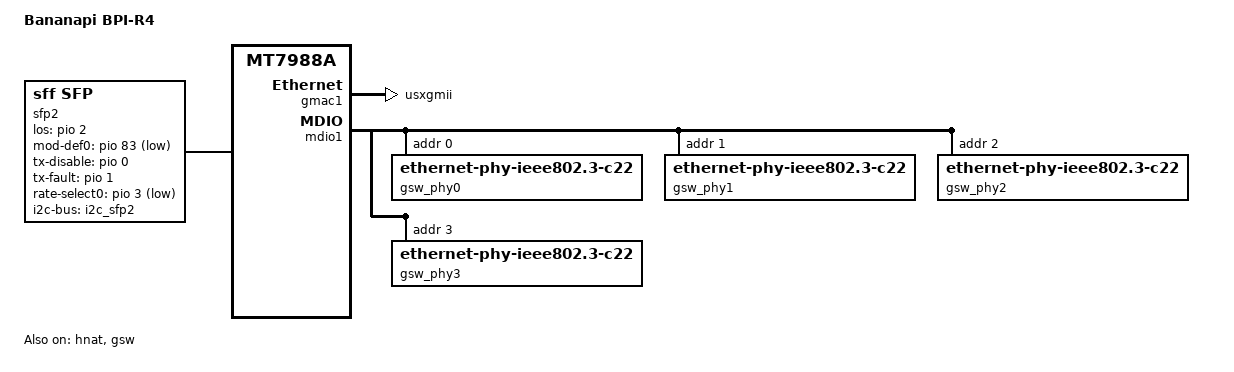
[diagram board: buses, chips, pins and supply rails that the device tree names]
// SPDX-License-Identifier: (GPL-2.0 OR MIT)
/*
 * Copyright (C) 2022 MediaTek Inc.
 * Author: Sam.Shih <sam.shih@mediatek.com>
 */

#include "mt7988a-bananapi-bpi-r4.dtsi"

/ {
	model = "Bananapi BPI-R4";
	compatible = "bananapi,bpi-r4",
		     "mediatek,mt7988a";

	/* SFP2 cage (LAN) */
	sfp2: sfp2 {
		compatible = "sff,sfp";
		i2c-bus = <&i2c_sfp2>;
		los-gpios = <&pio 2 GPIO_ACTIVE_HIGH>;
		mod-def0-gpios = <&pio 83 GPIO_ACTIVE_LOW>;
		tx-disable-gpios = <&pio 0 GPIO_ACTIVE_HIGH>;
		tx-fault-gpios = <&pio 1 GPIO_ACTIVE_HIGH>;
		rate-select0-gpios = <&pio 3 GPIO_ACTIVE_LOW>;
		maximum-power-milliwatt = <3000>;
	};
};

&gmac1 {
	sfp = <&sfp2>;
	managed = "in-band-status";
	phy-mode = "usxgmii";
	status = "okay";
};

&pca9545 {
	i2c_sfp2: i2c@2 {
		#address-cells = <1>;
		#size-cells = <0>;
		reg = <2>;
	};
};

&hnat {
	mtketh-wan = "eth2";
	mtketh-lan = "lan";
	mtketh-lan2 = "eth1";
	mtketh-max-gmac = <3>;
	mtketh-ppe-num = <3>;
	status = "okay";
};

&switch {
	status = "disabled";
};

&ethwarp {
	compatible = "mediatek,mt7988-ethwarp", "syscon";
}

&gsw {
	compatible = "mediatek,mt753x", "mediatek,mt7988-gsw-switch", "syscon";
	mediatek,sysctrl = <&ethwarp>;
	mediatek,mdio = <&mdio_bus>;
	mediatek,portmap = "llllw";
	mediatek,mdio_master_pinmux = <1>;
	interrupt-parent = <&gic>;
	interrupts = <GIC_SPI 209 IRQ_TYPE_LEVEL_HIGH>;
	status = "okay";
	port6: port@6 {
		compatible = "mediatek,mt753x-port";
		mediatek,ssc-on;
		phy-mode = "10gbase-kr";
		reg = <6>;
		fixed-link {
			speed = <10000>;
			full-duplex;
			pause;
		};
	};
	mdio1: mdio-bus {
		#address-cells = <1>;
		#size-cells = <0>;
		mediatek,pio = <&pio>;
		gsw_phy0: ethernet-phy@0 {
			compatible = "ethernet-phy-ieee802.3-c22";
			reg = <0>;
			phy-mode = "internal";
			pinctrl-names = "gbe-led";
			pinctrl-0 = <&gbe0_led0_pins>;
			nvmem-cells = <&phy_calibration_p0>;
			nvmem-cell-names = "phy-cal-data";
			leds {
				#address-cells = <1>;
				#size-cells = <0>;
				gsw_phy0_led0: gsw-phy0-led0@0 {
					reg = <0>;
					function = LED_FUNCTION_LAN;
					status = "okay";
					color = <LED_COLOR_ID_GREEN>;
				};
				gsw_phy0_led1: gsw-phy0-led1@1 {
					reg = <1>;
					function = LED_FUNCTION_LAN;
					status = "disabled";
				};
			};
		};
		gsw_phy1: ethernet-phy@1 {
			compatible = "ethernet-phy-ieee802.3-c22";
			reg = <1>;
			phy-mode = "internal";
			pinctrl-names = "gbe-led";
			pinctrl-0 = <&gbe1_led0_pins>;
			nvmem-cells = <&phy_calibration_p1>;
			nvmem-cell-names = "phy-cal-data";
			leds {
				#address-cells = <1>;
				#size-cells = <0>;
				gsw_phy1_led0: gsw-phy1-led0@0 {
					reg = <0>;
					function = LED_FUNCTION_LAN;
					status = "okay";
					color = <LED_COLOR_ID_GREEN>;
				};
				gsw_phy1_led1: gsw-phy1-led1@1 {
					reg = <1>;
					function = LED_FUNCTION_LAN;
					status = "disabled";
				};
			};
		};
		gsw_phy2: ethernet-phy@2 {
			compatible = "ethernet-phy-ieee802.3-c22";
			reg = <2>;
			phy-mode = "internal";
			pinctrl-names = "gbe-led";
			pinctrl-0 = <&gbe2_led0_pins>;
			nvmem-cells = <&phy_calibration_p2>;
			nvmem-cell-names = "phy-cal-data";
			leds {
				#address-cells = <1>;
				#size-cells = <0>;
				gsw_phy2_led0: gsw-phy2-led0@0 {
					reg = <0>;
					function = LED_FUNCTION_LAN;
					status = "okay";
					color = <LED_COLOR_ID_GREEN>;
				};
				gsw_phy2_led1: gsw-phy2-led1@1 {
					reg = <1>;
					function = LED_FUNCTION_LAN;
					status = "disabled";
				};
			};
		};
		gsw_phy3: ethernet-phy@3 {
			compatible = "ethernet-phy-ieee802.3-c22";
			reg = <3>;
			phy-mode = "internal";
			pinctrl-names = "gbe-led";
			pinctrl-0 = <&gbe3_led0_pins>;
			nvmem-cells = <&phy_calibration_p3>;
			nvmem-cell-names = "phy-cal-data";
			leds {
				#address-cells = <1>;
				#size-cells = <0>;
				gsw_phy3_led0: gsw-phy3-led0@0 {
					reg = <0>;
					function = LED_FUNCTION_LAN;
					status = "okay";
					color = <LED_COLOR_ID_GREEN>;
				};
				gsw_phy3_led1: gsw-phy3-led1@1 {
					reg = <1>;
					function = LED_FUNCTION_LAN;
					status = "disabled";
				};
			};
		};
	};
};

